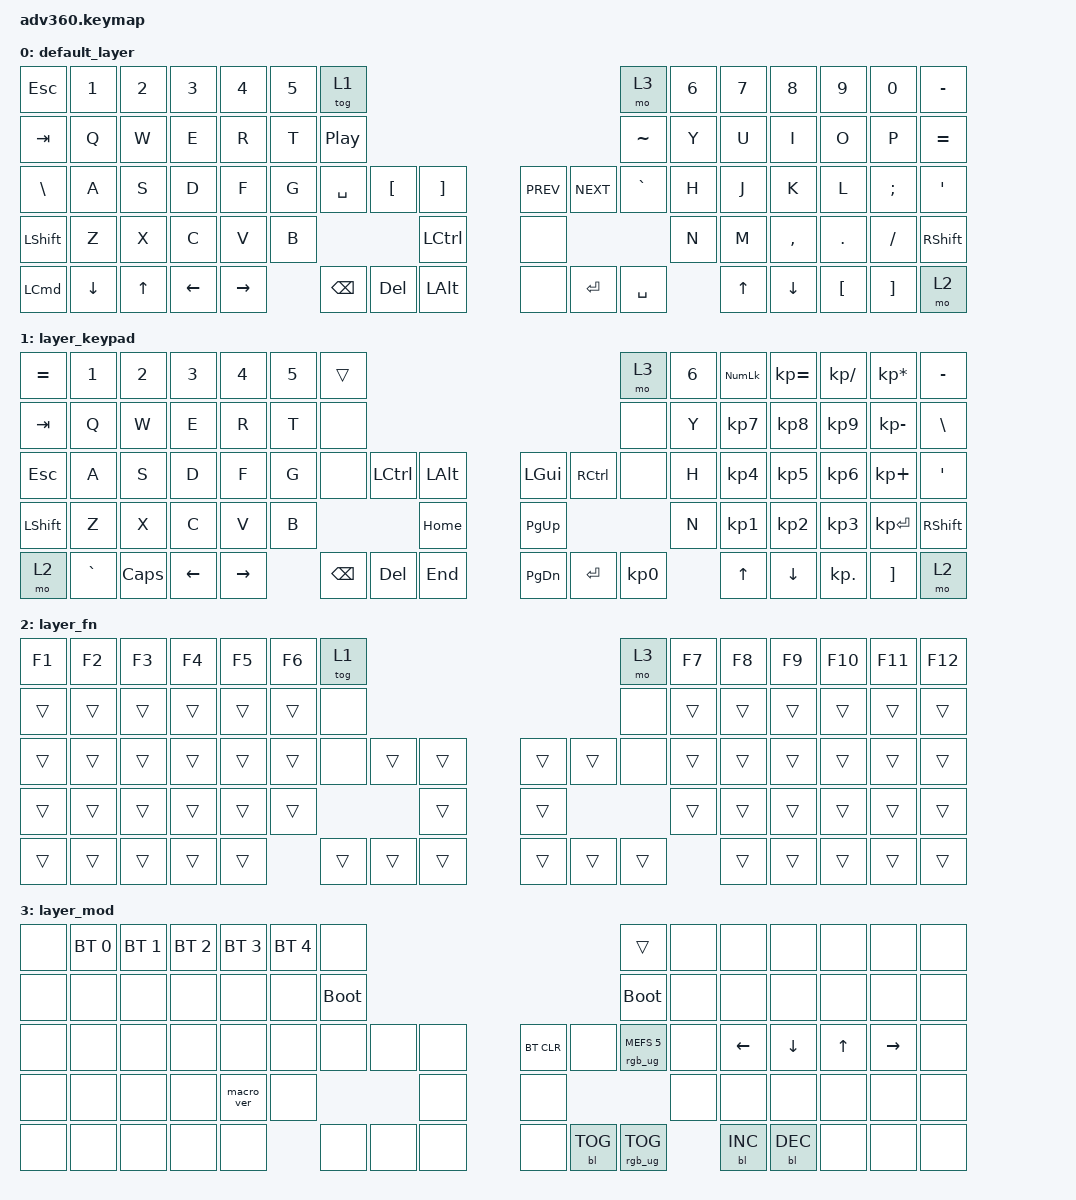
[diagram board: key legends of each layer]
/*
 * Copyright (c) 2020 The ZMK Contributors
 *
 * SPDX-License-Identifier: MIT
 */
/* THIS FILE WAS GENERATED!
 *
 * This file was generated automatically. You may or may not want to
 * edit it directly.
 */

#include <behaviors.dtsi>
#include <dt-bindings/zmk/backlight.h>
#include <dt-bindings/zmk/bt.h>
#include <dt-bindings/zmk/keys.h>
#include <dt-bindings/zmk/rgb.h>

/ {
    behaviors {
        #include "macros.dtsi"
    #include "version.dtsi"

        hm: homerow_mods {
            compatible = "zmk,behavior-hold-tap";
            label = "HOMEROW_MODS";
            #binding-cells = <2>;
            tapping-term-ms = <150>;
            flavor = "balanced";
            bindings = <&kp>, <&kp>;

            hold-trigger-key-positions = <29 44>;
        };
    };

    combos {
        compatible = "zmk,combos";

        super-1 {
            bindings = <&kp LS(LA(LC(ASTERISK)))>;
            key-positions = <35>;
        };

        super-2 {
            bindings = <&kp LS(LA(LC(APOS)))>;
            key-positions = <36>;
        };

        super-3 {
            bindings = <&kp RS(RA(RC(NON_US_HASH)))>;
            key-positions = <53>;
        };

        super-4 {
            bindings = <&kp RS(RC(RA(SEMI)))>;
            key-positions = <68>;
        };
    };

    keymap {
        compatible = "zmk,keymap";

        default_layer {
            bindings = <
&kp ESC        &kp N1    &kp N2  &kp N3    &kp N4     &kp N5  &tog 1                                                                      &mo 3      &kp N6  &kp N7  &kp N8     &kp N9    &kp N0    &kp MINUS
&kp TAB        &kp Q     &kp W   &kp E     &kp R      &kp T   &kp C_PP                                                                    &kp TILDE  &kp Y   &kp U   &kp I      &kp O     &kp P     &kp EQUAL
&kp BACKSLASH  &kp A     &kp S   &kp D     &kp F      &kp G   &kp SPACE  &kp LEFT_BRACKET  &kp RIGHT_BRACKET      &kp C_PREV  &kp C_NEXT  &kp GRAVE  &kp H   &kp J   &kp K      &kp L     &kp SEMI  &kp SQT
&kp LSHFT      &kp Z     &kp X   &kp C     &kp V      &kp B                                &kp LCTRL              &none                              &kp N   &kp M   &kp COMMA  &kp DOT   &kp FSLH  &kp RSHFT
&kp LCMD       &kp DOWN  &kp UP  &kp LEFT  &kp RIGHT          &kp BSPC   &kp DEL           &kp LEFT_ALT           &none       &kp ENTER   &kp SPACE          &kp UP  &kp DOWN   &kp LBKT  &kp RBKT  &mo 2
            >;
        };

        layer_keypad {
            bindings = <
&kp EQUAL  &kp N1     &kp N2    &kp N3    &kp N4     &kp N5  &trans                                                   &mo 3      &kp N6  &kp KP_NUM  &kp KP_EQUAL  &kp KP_DIVIDE  &kp KP_MULTIPLY  &kp MINUS
&kp TAB    &kp Q      &kp W     &kp E     &kp R      &kp T   &none                                                    &none      &kp Y   &kp KP_N7   &kp KP_N8     &kp KP_N9      &kp KP_MINUS     &kp BSLH
&kp ESC    &kp A      &kp S     &kp D     &kp F      &kp G   &none     &kp LCTRL  &kp LALT      &kp LGUI   &kp RCTRL  &none      &kp H   &kp KP_N4   &kp KP_N5     &kp KP_N6      &kp KP_PLUS      &kp SQT
&kp LSHFT  &kp Z      &kp X     &kp C     &kp V      &kp B                        &kp HOME      &kp PG_UP                        &kp N   &kp KP_N1   &kp KP_N2     &kp KP_N3      &kp KP_ENTER     &kp RSHFT
&mo 2      &kp GRAVE  &kp CAPS  &kp LEFT  &kp RIGHT          &kp BSPC  &kp DEL    &kp END       &kp PG_DN  &kp ENTER  &kp KP_N0          &kp UP      &kp DOWN      &kp KP_DOT     &kp RBKT         &mo 2
            >;
        };

        layer_fn {
            bindings = <
&kp F1  &kp F2  &kp F3  &kp F4  &kp F5  &kp F6  &tog 1                                      &mo 3   &kp F7  &kp F8  &kp F9  &kp F10  &kp F11  &kp F12
&trans  &trans  &trans  &trans  &trans  &trans  &none                                       &none   &trans  &trans  &trans  &trans   &trans   &trans
&trans  &trans  &trans  &trans  &trans  &trans  &none   &trans  &trans      &trans  &trans  &none   &trans  &trans  &trans  &trans   &trans   &trans
&trans  &trans  &trans  &trans  &trans  &trans                  &trans      &trans                  &trans  &trans  &trans  &trans   &trans   &trans
&trans  &trans  &trans  &trans  &trans          &trans  &trans  &trans      &trans  &trans  &trans          &trans  &trans  &trans   &trans   &trans
            >;
        };

        layer_mod {
            bindings = <
&none  &bt BT_SEL 0  &bt BT_SEL 1  &bt BT_SEL 2  &bt BT_SEL 3  &bt BT_SEL 4  &none                                                  &trans                  &none  &none       &none       &none         &none            &none
&none  &none         &none         &none         &none         &none         &bootloader                                            &bootloader             &none  &none       &none       &none         &none            &none
&none  &none         &none         &none         &none         &none         &none        &none  &none      &bt BT_CLR  &none       &rgb_ug RGB_MEFS_CMD 5  &none  &kp LEFT    &kp DOWN    &kp UP_ARROW  &kp RIGHT_ARROW  &none
&none  &none         &none         &none         &macro_ver    &none                             &none      &none                                           &none  &none       &none       &none         &none            &none
&none  &none         &none         &none         &none                       &none        &none  &none      &none       &bl BL_TOG  &rgb_ug RGB_TOG                &bl BL_INC  &bl BL_DEC  &none         &none            &none
            >;
        };
    };
};
